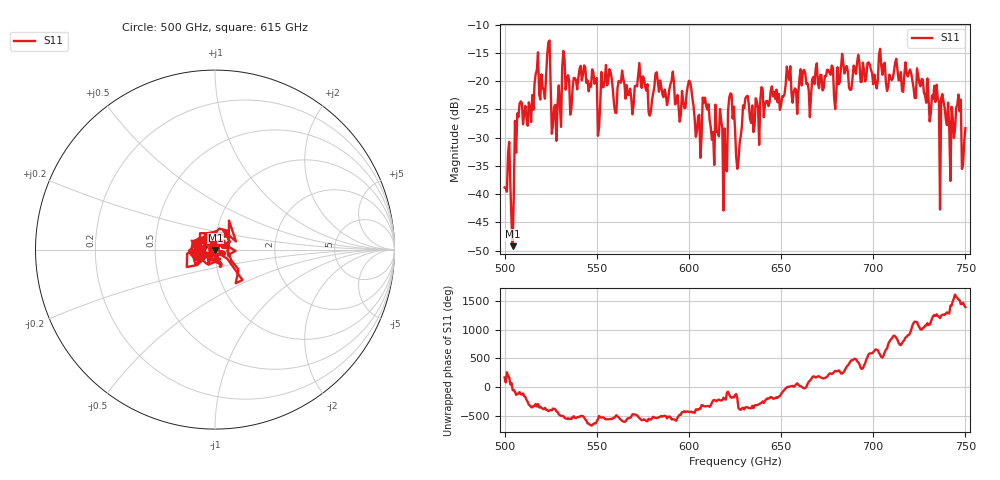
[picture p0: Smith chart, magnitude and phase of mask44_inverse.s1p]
!Created with skrf (http://scikit-rf.org).
# GHz S MA R 50.0
!freq magS11 angS11
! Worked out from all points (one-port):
!   401 points, 500 GHz to 750 GHz, reference 50 ohm
!   lowest |S11| = -49.2 dB at 504.4 GHz (marker M1), VSWR 1.01, Z = 50.2 - j0.281 ohm
!   |S11| at or under -10 dB: start of sweep to end of sweep
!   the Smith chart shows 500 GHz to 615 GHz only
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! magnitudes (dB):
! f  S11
! 500 GHz  -38.8
! 504.4 GHz  -49.2
! 508.1 GHz  -24.0
! 513.1 GHz  -23.8
! 523.8 GHz  -13.1
! 526.9 GHz  -24.5
! 531.2 GHz  -17.6
! 548.8 GHz  -20.5
! 551.9 GHz  -24.2
! 553.8 GHz  -21.0
! 562.5 GHz  -20.2
! 593.8 GHz  -22.5
! 600.6 GHz  -20.1
! 605 GHz  -26.2
! 609.4 GHz  -24.5
! 612.5 GHz  -30.4
! 616.9 GHz  -24.9
! 619.4 GHz  -28.4
! 623.1 GHz  -22.3
! 625 GHz  -28.4
! 626.9 GHz  -34.2
! 630.6 GHz  -23.0
! 656.2 GHz  -23.8
! 687.5 GHz  -21.6
! 718.8 GHz  -19.2
! 742.5 GHz  -24.5
! 746.2 GHz  -22.4
! 750 GHz  -28.3
